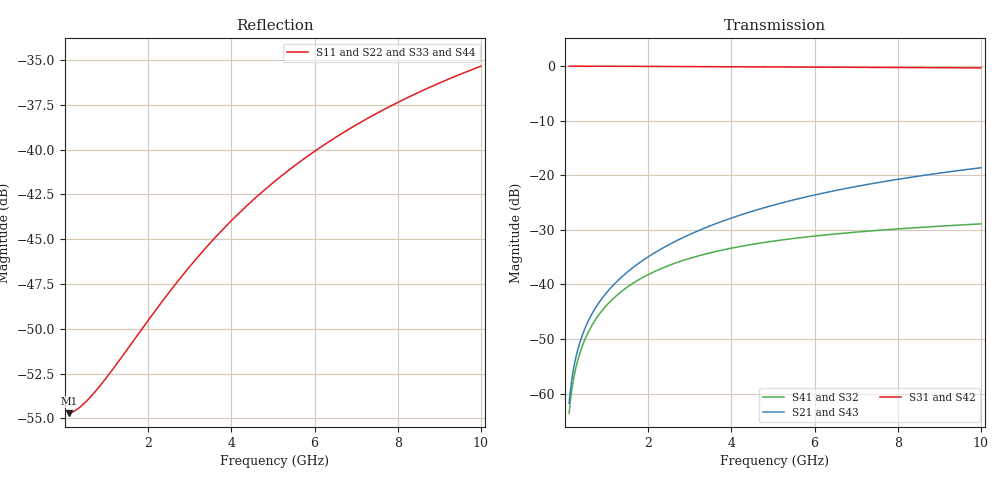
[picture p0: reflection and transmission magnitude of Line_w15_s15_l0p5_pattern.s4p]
! TOUCHSTONE file generated by CST MICROWAVE STUDIO
! Date and time: Wed Oct 22 17:47:36 2014
! Project name: Untitled_1.cst
# GHZ S MA R 50
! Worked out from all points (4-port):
!   1001 points, 100 MHz to 10 GHz, reference 50 ohm
!   strongest paths, dB at 100 MHz, 2.575 GHz, 5.05 GHz, 7.525 GHz, 10 GHz:
!     S31: 0.0, -0.1, -0.2, -0.3, -0.3
!     S42: 0.0, -0.1, -0.2, -0.3, -0.3
!     S21: -61.8, -32.4, -25.4, -21.3, -18.6
!     S43: -61.8, -32.4, -25.4, -21.3, -18.6
!     S41: -63.6, -36.3, -32.0, -30.1, -28.9
!     S32: -63.6, -36.3, -32.0, -30.1, -28.9
!   lowest |S11| = -54.7 dB at 100 MHz (marker M1), VSWR 1.00, Z = 50.2 - j0.0174 ohm
!   |S11| at or under -10 dB: start of sweep to end of sweep
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0.1  0.001836 -5.4  0.0008154 90.5  0.9981 -0.2  0.0006598 -91.2
     0.0008154 90.5  0.001836 -5.4  0.0006598 -91.2  0.9981 -0.2
     0.9981 -0.2  0.0006598 -91.2  0.001836 -5.4  0.0008154 90.5
     0.0006598 -91.2  0.9981 -0.2  0.0008154 90.5  0.001836 -5.4
0.3376  0.001901 -18.4  0.002766 91.6  0.9979 -0.8  0.002212 -93.7
        0.002766 91.6  0.0019 -18.4  0.002212 -93.7  0.9979 -0.8
        0.9979 -0.8  0.002212 -93.7  0.001901 -18.4  0.002766 91.6
        0.002213 -93.7  0.9979 -0.8  0.002766 91.6  0.0019 -18.4
0.7138  0.002102 -39.7  0.005921 93.1  0.9973 -1.6  0.004631 -97.4
        0.005921 93.1  0.002098 -39.6  0.004631 -97.4  0.9973 -1.6
        0.9973 -1.6  0.004631 -97.4  0.002101 -39.7  0.005921 93.1
        0.004631 -97.4  0.9973 -1.6  0.005921 93.1  0.0021 -39.6
1.3276  0.0026 -72.1  0.01137 95.0  0.9958 -3.0  0.008435 -103.2
        0.01137 95.0  0.002591 -72.2  0.008435 -103.2  0.9958 -3.0
        0.9958 -3.0  0.008435 -103.2  0.002599 -72.2  0.01137 95.0
        0.008435 -103.2  0.9958 -3.0  0.01137 95.0  0.002595 -72.0
2.2186  0.003613 -110.0  0.02014 96.3  0.9927 -5.0  0.01347 -111.1
        0.02014 96.3  0.003605 -110.3  0.01347 -111.0  0.9927 -5.0
        0.9927 -5.0  0.01347 -111.0  0.003617 -110.2  0.02014 96.3
        0.01347 -111.1  0.9927 -5.0  0.02014 96.3  0.003604 -110.0
5.2777  0.008582 175.2  0.05662 92.1  0.98 -11.2  0.02574 -131.3
        0.05662 92.1  0.008655 174.8  0.02573 -131.3  0.98 -11.2
        0.98 -11.2  0.02573 -131.3  0.00865 175.2  0.0566 92.1
        0.02574 -131.3  0.98 -11.2  0.0566 92.1  0.008578 175.1
10  0.01711 123.8  0.1172 79.7  0.9631 -20.3  0.03587 -148.7
    0.1172 79.7  0.01737 124.0  0.03583 -148.6  0.9631 -20.3
    0.9631 -20.3  0.03583 -148.6  0.0173 124.5  0.1172 79.7
    0.03587 -148.7  0.9631 -20.3  0.1172 79.7  0.01713 123.9
